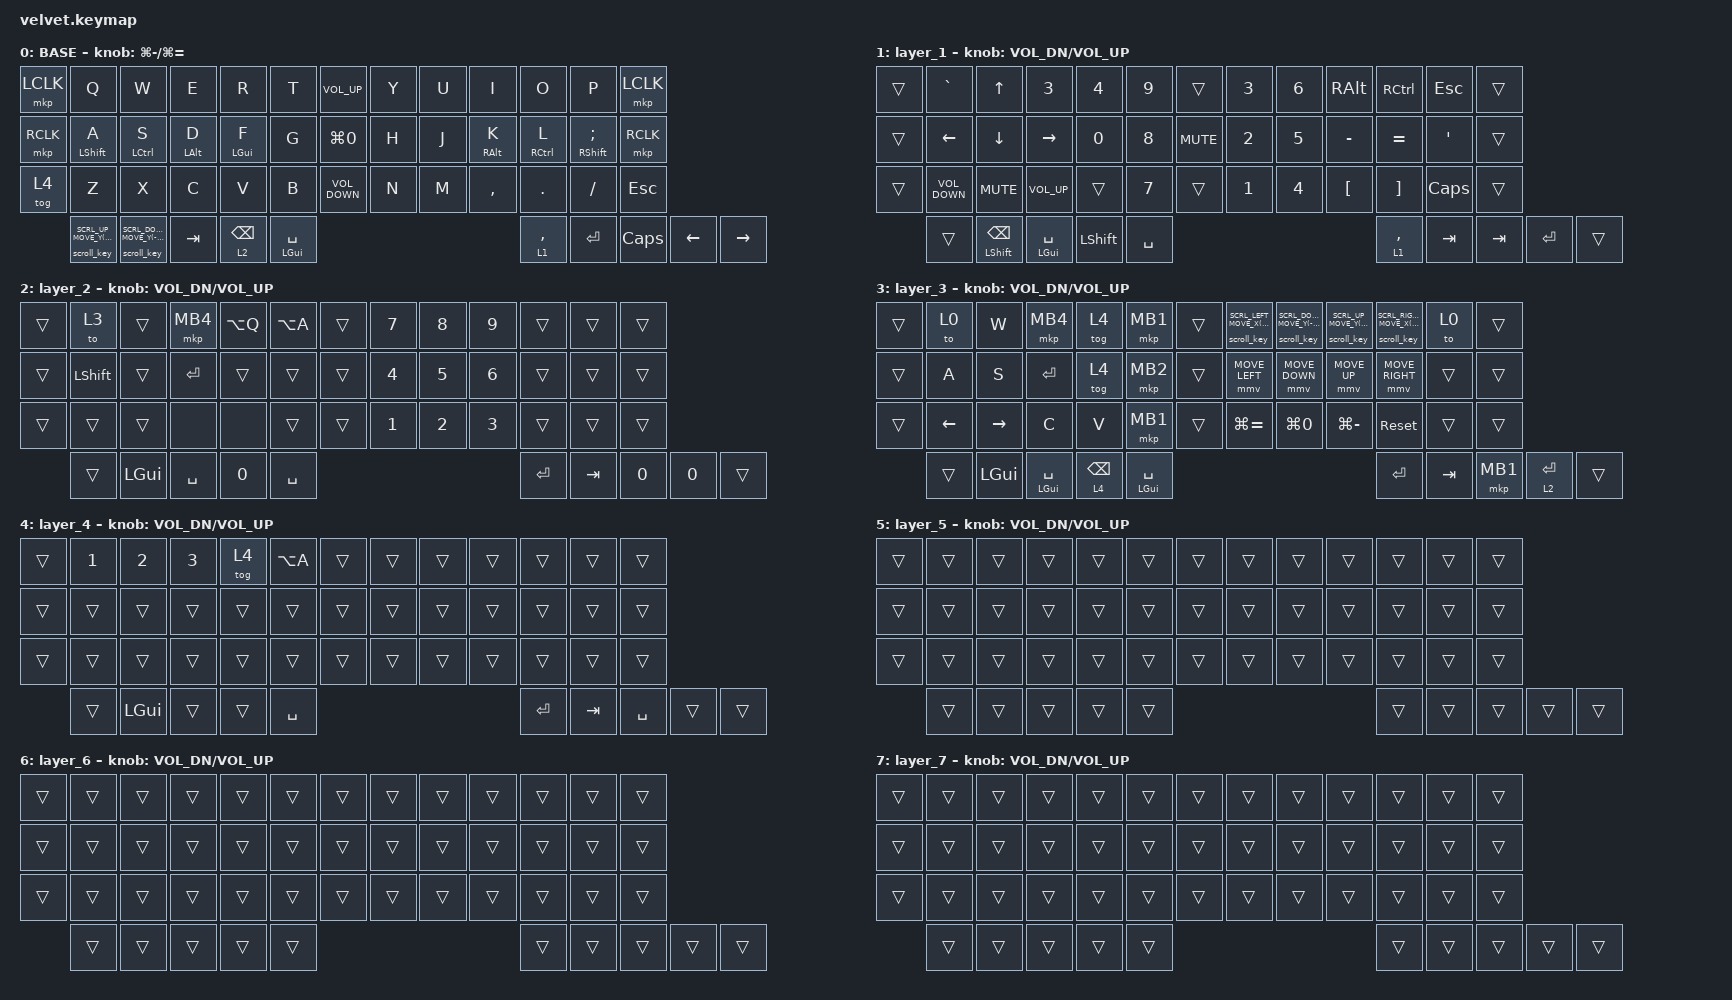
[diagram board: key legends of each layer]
#define BASE 0
#define LOWER 1
#define MOUSE_KEYS 2
#define MOUSE_TP 3
#define MOUSE_TP_SET 4
#define SCROLL 4

#include <zephyr/dt-bindings/input/input-event-codes.h>
#include <behaviors/toggle_io.dtsi>
#include <behaviors/on_io.dtsi>
#include <behaviors/off_io.dtsi>
#include <input/processors.dtsi>
#include <behaviors/runtime-sensor-rotate.dtsi>
#include <behaviors.dtsi>
#include <dt-bindings/zmk/keys.h>
#include <dt-bindings/zmk/pointing.h>

&mmv_input_listener {
    input-processors = <&zip_xy_scaler 1 1>;

    scroll_mode {
        layers = <SCROLL>;
        input-processors = <&zip_xy_to_scroll_mapper>, <&zip_scroll_scaler 1 1>;
    };
};

&msc_input_listener { input-processors = <&zip_scroll_scaler 180 1>; };

&msc {
    acceleration-exponent = <0>;
    time-to-max-speed-ms = <0>;
    delay-ms = <(300 * 32768 / 1000)>; // Driver uses ticks here: 300 ms at verified 32768 Hz.
};

&mmv {
    time-to-max-speed-ms = <200>;
    acceleration-exponent = <1>;
    trigger-period-ms = <16>;
};

/ {
    scroll_burst_listener {
        compatible = "zmk,input-listener";
        device = <&scroll_burst>;
        input-processors = <&zip_scroll_scaler 1 1>;
    };

    scroll_encoder: scroll_encoder {
        compatible = "zmk,behavior-sensor-rotate";
        #sensor-binding-cells = <0>;
        bindings = <&msc SCRL_DOWN>, <&msc SCRL_UP>;

        tap-ms = <20>;
    };

    behaviors {
        // Separate initial pulse; never changes the continuous msc state.
        scroll_burst: scroll_burst {
            compatible = "zmk,behavior-input-two-axis";
            #binding-cells = <1>;
            x-input-code = <INPUT_REL_HWHEEL>;
            y-input-code = <INPUT_REL_WHEEL>;
            trigger-period-ms = <5>;
            delay-ms = <0>;
            time-to-max-speed-ms = <0>;
            acceleration-exponent = <0>;
        };

        // Param 1: held direction/speed. Param 2: initial pulse direction/speed.
        // Start both on press; finish the 30 ms pulse independently of key release.
        // Only the original continuous msc remains active until physical release.
        scroll_key: scroll_key {
            compatible = "zmk,behavior-macro-two-param";
            #binding-cells = <2>;
            wait-ms = <0>;
            tap-ms = <30>;
            bindings =
                <&macro_press>, <&macro_param_1to1>, <&msc 0>,
                <&macro_tap>, <&macro_param_2to1>, <&scroll_burst 0>,
                <&macro_pause_for_release>,
                <&macro_release>, <&macro_param_1to1>, <&msc 0>;
        };

        hm: homerow_mods {
            compatible = "zmk,behavior-hold-tap";
            #binding-cells = <2>;
            tapping-term-ms = <200>;
            quick-tap-ms = <175>;
            require-prior-idle-ms = <150>;
            flavor = "tap-preferred";
            bindings = <&kp>, <&kp>;
        };

        td0: td0 {
            compatible = "zmk,behavior-tap-dance";
            display-name = "Shift/Caps Lock Tap Dance";
            #binding-cells = <0>;
            bindings = <&kp LEFT_SHIFT>, <&kp CAPS>;
        };

        ltq: ltq {
            compatible = "zmk,behavior-hold-tap";
            label = "LTQ";
            bindings = <&mo>, <&kp>;

            #binding-cells = <2>;
            tapping-term-ms = <200>;
            quick-tap-ms = <180>;
        };

        rsr_vol: rsr_vol {
            compatible = "zmk,behavior-runtime-sensor-rotate";
            #sensor-binding-cells = <0>;
            tap-ms = <5>;
            cw-binding = <&kp C_VOL_UP>;
            ccw-binding = <&kp C_VOL_DN>;
        };
    };

    combos {
        compatible = "zmk,combos";

        rt {
            bindings = <&kp LEFT_PARENTHESIS>;
            key-positions = <4 5>;
        };

        yu {
            bindings = <&kp RIGHT_PARENTHESIS>;
            key-positions = <7 8>;
        };

        vb {
            bindings = <&kp LS(APOSTROPHE)>;
            key-positions = <30 31>;
        };

        nm {
            bindings = <&kp APOSTROPHE>;
            key-positions = <33 34>;
        };

        qw {
            bindings = <&kp ESC>;
            key-positions = <1 2>;
        };
    };

    keymap {
        compatible = "zmk,keymap";

        BASE {
            bindings = <
&mkp LCLK  &kp Q             &kp W               &kp E           &kp R            &kp T               &kp C_VOL_UP       &kp Y        &kp U      &kp I            &kp O                &kp P                      &mkp LCLK
&mkp RCLK  &hm LEFT_SHIFT A  &hm LEFT_CONTROL S  &hm LEFT_ALT D  &hm LEFT_GUI F   &kp G               &kp LG(N0)         &kp H        &kp J      &hm RIGHT_ALT K  &hm RIGHT_CONTROL L  &hm RIGHT_SHIFT SEMICOLON  &mkp RCLK
&tog 4     &kp Z             &kp X               &kp C           &kp V            &kp B               &kp C_VOLUME_DOWN  &kp N        &kp M      &kp COMMA        &kp DOT              &kp FSLH                   &kp ESC
           &scroll_key SCRL_UP MOVE_Y(200)      &scroll_key SCRL_DOWN MOVE_Y(-200)      &kp TAB         &lt 2 BACKSPACE  &mt LEFT_GUI SPACE                     &lt 1 COMMA  &kp ENTER  &kp CAPS         &kp LEFT_ARROW       &kp RIGHT
            >;

            label = "BASE";
            sensor-bindings = <&inc_dec_kp LG(MINUS) LG(EQUAL)>;
        };

        layer_1 {
            bindings = <
&trans  &kp GRAVE          &kp UP_ARROW              &kp N3              &kp N4          &kp N9        &trans      &kp NUMBER_3  &kp NUMBER_6  &kp RIGHT_ALT  &kp RIGHT_CONTROL  &kp ESC   &trans
&trans  &kp LEFT_ARROW     &kp DOWN_ARROW            &kp RIGHT_ARROW     &kp NUMBER_0    &kp NUMBER_8  &kp K_MUTE  &kp NUMBER_2  &kp N5        &kp MINUS      &kp EQUAL          &kp SQT   &trans
&trans  &kp C_VOLUME_DOWN  &kp K_MUTE                &kp C_VOLUME_UP     &trans          &kp N7        &trans      &kp NUMBER_1  &kp NUMBER_4  &kp LBKT       &kp RBKT           &kp CAPS  &trans
        &trans             &mt LEFT_SHIFT BACKSPACE  &mt LEFT_GUI SPACE  &kp LEFT_SHIFT  &kp SPACE                 &lt 1 COMMA   &kp TAB       &kp TAB        &kp ENTER          &trans
            >;

            sensor-bindings = <&inc_dec_kp C_VOL_DN C_VOL_UP>;
        };

        layer_2 {
            bindings = <
&trans  &to 3           &trans    &mkp MB4   &kp LA(Q)     &kp LA(A)  &trans  &kp NUMBER_7  &kp NUMBER_8  &kp NUMBER_9  &trans        &trans  &trans
&trans  &kp LEFT_SHIFT  &trans    &kp ENTER  &trans        &trans     &trans  &kp NUMBER_4  &kp NUMBER_5  &kp NUMBER_6  &trans        &trans  &trans
&trans  &trans          &trans    &none      &none         &trans     &trans  &kp NUMBER_1  &kp NUMBER_2  &kp NUMBER_3  &trans        &trans  &trans
        &trans          &kp LGUI  &kp SPACE  &kp NUMBER_0  &kp SPACE          &kp RET       &kp TAB       &kp N0        &kp NUMBER_0  &trans
            >;

            sensor-bindings = <&inc_dec_kp C_VOL_DN C_VOL_UP>;
        };

        layer_3 {
            bindings = <
&trans  &to 0           &kp W            &mkp MB4            &tog 4           &mkp MB1            &trans  &scroll_key SCRL_LEFT MOVE_X(-200)  &scroll_key SCRL_DOWN MOVE_Y(-200)    &scroll_key SCRL_UP MOVE_Y(200)   &scroll_key SCRL_RIGHT MOVE_X(200)  &to 0   &trans
&trans  &kp A           &kp S            &kp ENTER           &tog 4           &mkp MB2            &trans  &mmv MOVE_LEFT  &mmv MOVE_DOWN    &mmv MOVE_UP   &mmv MOVE_RIGHT  &trans  &trans
&trans  &kp LEFT_ARROW  &kp RIGHT_ARROW  &kp C               &kp V            &mkp MB1            &trans  &kp LG(EQUAL)   &kp LG(NUMBER_0)  &kp LG(MINUS)  &sys_reset       &trans  &trans
        &trans          &kp LGUI         &mt LEFT_GUI SPACE  &lt 4 BACKSPACE  &mt LEFT_GUI SPACE          &kp RET         &kp TAB           &mkp MB1       &lt 2 ENTER      &trans
            >;

            sensor-bindings = <&inc_dec_kp C_VOL_DN C_VOL_UP>;
        };

        layer_4 {
            bindings = <
&trans  &kp NUMBER_1  &kp NUMBER_2  &kp NUMBER_3  &tog 4  &kp LA(A)  &trans  &trans   &trans   &trans     &trans  &trans  &trans
&trans  &trans        &trans        &trans        &trans  &trans     &trans  &trans   &trans   &trans     &trans  &trans  &trans
&trans  &trans        &trans        &trans        &trans  &trans     &trans  &trans   &trans   &trans     &trans  &trans  &trans
        &trans        &kp LGUI      &trans        &trans  &kp SPACE          &kp RET  &kp TAB  &kp SPACE  &trans  &trans
            >;

            sensor-bindings = <&inc_dec_kp C_VOL_DN C_VOL_UP>;
        };

        layer_5 {
            bindings = <
&trans  &trans  &trans  &trans  &trans  &trans  &trans  &trans  &trans  &trans  &trans  &trans  &trans
&trans  &trans  &trans  &trans  &trans  &trans  &trans  &trans  &trans  &trans  &trans  &trans  &trans
&trans  &trans  &trans  &trans  &trans  &trans  &trans  &trans  &trans  &trans  &trans  &trans  &trans
        &trans  &trans  &trans  &trans  &trans          &trans  &trans  &trans  &trans  &trans
            >;

            sensor-bindings = <&inc_dec_kp C_VOL_DN C_VOL_UP>;
        };

        layer_6 {
            bindings = <
&trans  &trans  &trans  &trans  &trans  &trans  &trans  &trans  &trans  &trans  &trans  &trans  &trans
&trans  &trans  &trans  &trans  &trans  &trans  &trans  &trans  &trans  &trans  &trans  &trans  &trans
&trans  &trans  &trans  &trans  &trans  &trans  &trans  &trans  &trans  &trans  &trans  &trans  &trans
        &trans  &trans  &trans  &trans  &trans          &trans  &trans  &trans  &trans  &trans
            >;

            sensor-bindings = <&inc_dec_kp C_VOL_DN C_VOL_UP>;
        };

        layer_7 {
            bindings = <
&trans  &trans  &trans  &trans  &trans  &trans  &trans  &trans  &trans  &trans  &trans  &trans  &trans
&trans  &trans  &trans  &trans  &trans  &trans  &trans  &trans  &trans  &trans  &trans  &trans  &trans
&trans  &trans  &trans  &trans  &trans  &trans  &trans  &trans  &trans  &trans  &trans  &trans  &trans
        &trans  &trans  &trans  &trans  &trans          &trans  &trans  &trans  &trans  &trans
            >;

            sensor-bindings = <&inc_dec_kp C_VOL_DN C_VOL_UP>;
        };
    };
};
